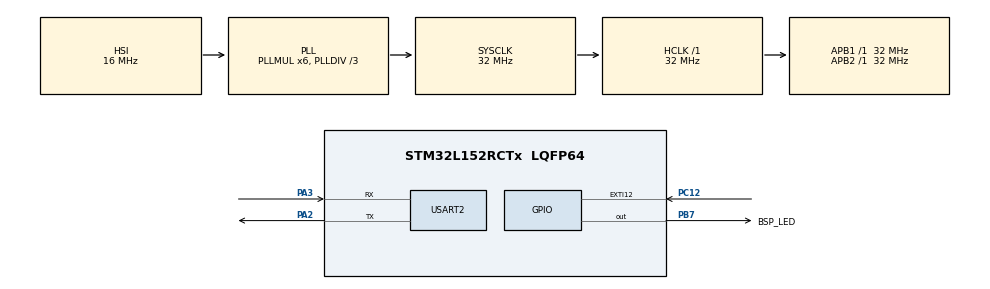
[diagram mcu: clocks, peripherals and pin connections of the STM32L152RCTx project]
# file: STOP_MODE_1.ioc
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Mcu.Family=STM32L1
Mcu.Name=STM32L152RCTx
Mcu.Package=LQFP64
NVIC.EXTI15_10_IRQn=true\:0\:0\:false\:false\:true\:true\:true\:true
NVIC.FLASH_IRQn=true\:0\:0\:false\:false\:true\:true\:true\:true
NVIC.PriorityGroup=NVIC_PRIORITYGROUP_0
NVIC.RCC_IRQn=true\:0\:0\:false\:false\:true\:true\:false\:true
NVIC.RTC_WKUP_IRQn=true\:0\:0\:false\:false\:true\:true\:true\:true
NVIC.USART2_IRQn=true\:0\:0\:false\:false\:true\:true\:true\:true
PA13.Mode=Serial_Wire
PA13.Signal=SYS_JTMS-SWDIO
PA14.Mode=Serial_Wire
PA14.Signal=SYS_JTCK-SWCLK
PA2.Mode=Asynchronous
PA2.Signal=USART2_TX
PA3.Mode=Asynchronous
PA3.Signal=USART2_RX
PB7.GPIO_Label=BSP_LED
PB7.Signal=GPIO_Output
PC12.Signal=GPXTI12
PC14-OSC32_IN.Mode=LSE-External-Oscillator
PC14-OSC32_IN.Signal=RCC_OSC32_IN
PC15-OSC32_OUT.Mode=LSE-External-Oscillator
PC15-OSC32_OUT.Signal=RCC_OSC32_OUT
PH0-OSC_IN.Mode=HSE-External-Oscillator
PH0-OSC_IN.Signal=RCC_OSC_IN
PH1-OSC_OUT.Mode=HSE-External-Oscillator
PH1-OSC_OUT.Signal=RCC_OSC_OUT
ProjectManager.HeapSize=0x200
ProjectManager.StackSize=0x400
ProjectManager.TargetToolchain=STM32CubeIDE
RCC.48MHZClocksFreq_Value=48000000
RCC.AHBFreq_Value=32000000
RCC.APB1Freq_Value=32000000
RCC.APB1TimFreq_Value=32000000
RCC.APB2Freq_Value=32000000
RCC.APB2TimFreq_Value=32000000
RCC.HCLKFreq_Value=32000000
RCC.HSE_VALUE=8000000
RCC.HSI_VALUE=16000000
RCC.MSI_VALUE=2097000
RCC.PLLDIV=RCC_PLL_DIV3
RCC.PLLMUL=RCC_PLL_MUL6
RCC.RTCClockSelectionVirtual=RCC_RTCCLKSOURCE_LSE
RCC.SYSCLKFreq_VALUE=32000000
RCC.SYSCLKSource=RCC_SYSCLKSOURCE_PLLCLK
RCC.USBOutput=48000000
RCC.VCOOutputFreq_Value=96000000
USART2.VirtualMode=VM_ASYNC
VP_RTC_VS_RTC_Activate.Mode=RTC_Enabled
VP_RTC_VS_RTC_WakeUp_intern.Mode=WakeUp
board=STM32L152C-DISCO

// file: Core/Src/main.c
/* USER CODE BEGIN Header */
/**
  ******************************************************************************
  * @file           : main.c
  * @brief          : Main program body
  ******************************************************************************
  * @attention
  *
  * Copyright (c) 2023 STMicroelectronics.
  * All rights reserved.
  *
  * This software is licensed under terms that can be found in the LICENSE file
  * in the root directory of this software component.
  * If no LICENSE file comes with this software, it is provided AS-IS.
  *
  ******************************************************************************
  */
/* USER CODE END Header */
#include "main.h"

/* USER CODE BEGIN Includes */

#include "string.h"

/* USER CODE END Includes */

RTC_HandleTypeDef hrtc;

UART_HandleTypeDef huart2;

/* USER CODE BEGIN PV */

char *str={0};

/* USER CODE END PV */

void SystemClock_Config(void);
static void MX_GPIO_Init(void);
static void MX_USART2_UART_Init(void);
static void MX_RTC_Init(void);

/* USER CODE BEGIN 0 */

void HAL_GPIO_EXTI_Callback(uint16_t GPIO_Pin){

	if(GPIO_Pin==GPIO_PIN_12){

		 SystemClock_Config();
		 HAL_ResumeTick();
		 str = " WAKUP FROM EXTERNAL IN \r\n";
		 HAL_UART_Transmit(&huart2,(uint8_t *)str,strlen(str),1000);
		 HAL_PWR_DisableSleepOnExit();

	}
}

void HAL_RTCEx_WakeUpTimerEventCallback(RTC_HandleTypeDef *hrtc){

		 SystemClock_Config();
		 HAL_ResumeTick();
		 str = "WAKUP FROM RTC \r\n";
		 HAL_UART_Transmit(&huart2,(uint8_t *)str,strlen(str),1000);

	}

/* USER CODE END 0 */

int main(void)
{

  /* MCU Configuration--------------------------------------------------------*/

  /* Reset of all peripherals, Initializes the Flash interface and the Systick. */
  HAL_Init();

  /* Configure the system clock */
  SystemClock_Config();

  /* Initialize all configured peripherals */
  MX_GPIO_Init();
  MX_USART2_UART_Init();
  MX_RTC_Init();
  /* USER CODE BEGIN 2 */

  for(int i=0;i<20;i++){
	  HAL_GPIO_TogglePin(BSP_LED_GPIO_Port,BSP_LED_Pin);
	  HAL_Delay(200);
  }

    str = " GOING INTO THE STOP MODE\r\n";
    HAL_UART_Transmit(&huart2,(uint8_t *)str,strlen(str),1000);

//    RTC WAKEUP TIMER RELATED *****//

    /*## Configure the Wake up timer ###########################################*/
     /*  RTC Wake-up Interrupt Generation:
         Wake-up Time Base = (RTC_WAKEUPCLOCK_RTCCLK_DIV /(LSI))
         ==> WakeUpCounter = Wake-up Time / Wake-up Time Base

         To configure the wake up timer to 20s the WakeUpCounter is set to 0xA017:
           RTC_WAKEUPCLOCK_RTCCLK_DIV = RTCCLK_Div16 = 16
           Wake-up Time Base = 16 /(32KHz) = 0.0005 seconds
           ==> WakeUpCounter = ~10s/0.0005s = 20000 = 0x4E20 */

    if (HAL_RTCEx_SetWakeUpTimer_IT(&hrtc, 0x4E20, RTC_WAKEUPCLOCK_RTCCLK_DIV16) != HAL_OK)
      {
        Error_Handler();
      }

// suspend the systick  before going into  stop mode

 HAL_SuspendTick();

 // Enable sleep on exit for interrupt only operation ///
 HAL_PWR_EnableSleepOnExit();

// Enter the stop mode

    HAL_PWR_EnterSTOPMode(PWR_LOWPOWERREGULATOR_ON,PWR_STOPENTRY_WFI);

//    wake up  from stop  mode

    SystemClock_Config();
    HAL_ResumeTick();

    for(int i=0;i<20;i++){
  	  HAL_GPIO_TogglePin(BSP_LED_GPIO_Port,BSP_LED_Pin);
  	  HAL_Delay(200);
    }

//    DISABLE THE RTC WAKEUP

    HAL_RTCEx_DeactivateWakeUpTimer(&hrtc);

   char *str ="WAKUP FROM STOP MODE\r\n ";
   HAL_UART_Transmit(&huart2,(uint8_t *)str,strlen(str),HAL_MAX_DELAY);

  /* USER CODE END 2 */

  /* Infinite loop */
  while (1)
  {

  }
}

void SystemClock_Config(void)
{
  RCC_OscInitTypeDef RCC_OscInitStruct = {0};
  RCC_ClkInitTypeDef RCC_ClkInitStruct = {0};
  RCC_PeriphCLKInitTypeDef PeriphClkInit = {0};

  /** Configure the main internal regulator output voltage
  */
  __HAL_PWR_VOLTAGESCALING_CONFIG(PWR_REGULATOR_VOLTAGE_SCALE1);

  /** Initializes the RCC Oscillators according to the specified parameters
  * in the RCC_OscInitTypeDef structure.
  */
  RCC_OscInitStruct.OscillatorType = RCC_OSCILLATORTYPE_HSI|RCC_OSCILLATORTYPE_LSE;
  RCC_OscInitStruct.LSEState = RCC_LSE_ON;
  RCC_OscInitStruct.HSIState = RCC_HSI_ON;
  RCC_OscInitStruct.HSICalibrationValue = RCC_HSICALIBRATION_DEFAULT;
  RCC_OscInitStruct.PLL.PLLState = RCC_PLL_ON;
  RCC_OscInitStruct.PLL.PLLSource = RCC_PLLSOURCE_HSI;
  RCC_OscInitStruct.PLL.PLLMUL = RCC_PLL_MUL6;
  RCC_OscInitStruct.PLL.PLLDIV = RCC_PLL_DIV3;
  if (HAL_RCC_OscConfig(&RCC_OscInitStruct) != HAL_OK)
  {
    Error_Handler();
  }

  /** Initializes the CPU, AHB and APB buses clocks
  */
  RCC_ClkInitStruct.ClockType = RCC_CLOCKTYPE_HCLK|RCC_CLOCKTYPE_SYSCLK
                              |RCC_CLOCKTYPE_PCLK1|RCC_CLOCKTYPE_PCLK2;
  RCC_ClkInitStruct.SYSCLKSource = RCC_SYSCLKSOURCE_PLLCLK;
  RCC_ClkInitStruct.AHBCLKDivider = RCC_SYSCLK_DIV1;
  RCC_ClkInitStruct.APB1CLKDivider = RCC_HCLK_DIV1;
  RCC_ClkInitStruct.APB2CLKDivider = RCC_HCLK_DIV1;

  if (HAL_RCC_ClockConfig(&RCC_ClkInitStruct, FLASH_LATENCY_1) != HAL_OK)
  {
    Error_Handler();
  }
  PeriphClkInit.PeriphClockSelection = RCC_PERIPHCLK_RTC;
  PeriphClkInit.RTCClockSelection = RCC_RTCCLKSOURCE_LSE;
  if (HAL_RCCEx_PeriphCLKConfig(&PeriphClkInit) != HAL_OK)
  {
    Error_Handler();
  }
}

static void MX_RTC_Init(void)
{

  RTC_TimeTypeDef sTime = {0};
  RTC_DateTypeDef sDate = {0};

  /** Initialize RTC Only
  */
  hrtc.Instance = RTC;
  hrtc.Init.HourFormat = RTC_HOURFORMAT_24;
  hrtc.Init.AsynchPrediv = 127;
  hrtc.Init.SynchPrediv = 255;
  hrtc.Init.OutPut = RTC_OUTPUT_DISABLE;
  hrtc.Init.OutPutPolarity = RTC_OUTPUT_POLARITY_HIGH;
  hrtc.Init.OutPutType = RTC_OUTPUT_TYPE_OPENDRAIN;
  if (HAL_RTC_Init(&hrtc) != HAL_OK)
  {
    Error_Handler();
  }

  /** Initialize RTC and set the Time and Date
  */
  sTime.Hours = 0x0;
  sTime.Minutes = 0x0;
  sTime.Seconds = 0x0;
  sTime.DayLightSaving = RTC_DAYLIGHTSAVING_NONE;
  sTime.StoreOperation = RTC_STOREOPERATION_RESET;
  if (HAL_RTC_SetTime(&hrtc, &sTime, RTC_FORMAT_BCD) != HAL_OK)
  {
    Error_Handler();
  }
  sDate.WeekDay = RTC_WEEKDAY_MONDAY;
  sDate.Month = RTC_MONTH_JANUARY;
  sDate.Date = 0x1;
  sDate.Year = 0x0;

  if (HAL_RTC_SetDate(&hrtc, &sDate, RTC_FORMAT_BCD) != HAL_OK)
  {
    Error_Handler();
  }

  /** Enable the WakeUp
  */
//  if (HAL_RTCEx_SetWakeUpTimer_IT(&hrtc, 0, RTC_WAKEUPCLOCK_RTCCLK_DIV16) != HAL_OK)
//  {
//    Error_Handler();
//  }

}

static void MX_USART2_UART_Init(void)
{

  huart2.Instance = USART2;
  huart2.Init.BaudRate = 115200;
  huart2.Init.WordLength = UART_WORDLENGTH_8B;
  huart2.Init.StopBits = UART_STOPBITS_1;
  huart2.Init.Parity = UART_PARITY_NONE;
  huart2.Init.Mode = UART_MODE_TX_RX;
  huart2.Init.HwFlowCtl = UART_HWCONTROL_NONE;
  huart2.Init.OverSampling = UART_OVERSAMPLING_16;
  if (HAL_UART_Init(&huart2) != HAL_OK)
  {
    Error_Handler();
  }

}

static void MX_GPIO_Init(void)
{
  GPIO_InitTypeDef GPIO_InitStruct = {0};

  /* GPIO Ports Clock Enable */
  __HAL_RCC_GPIOC_CLK_ENABLE();
  __HAL_RCC_GPIOH_CLK_ENABLE();
  __HAL_RCC_GPIOA_CLK_ENABLE();
  __HAL_RCC_GPIOB_CLK_ENABLE();

  /*Configure GPIO pin Output Level */
  HAL_GPIO_WritePin(BSP_LED_GPIO_Port, BSP_LED_Pin, GPIO_PIN_RESET);

  /*Configure GPIO pin : PC12 */
  GPIO_InitStruct.Pin = GPIO_PIN_12;
  GPIO_InitStruct.Mode = GPIO_MODE_IT_RISING;
  GPIO_InitStruct.Pull = GPIO_NOPULL;
  HAL_GPIO_Init(GPIOC, &GPIO_InitStruct);

  /*Configure GPIO pin : BSP_LED_Pin */
  GPIO_InitStruct.Pin = BSP_LED_Pin;
  GPIO_InitStruct.Mode = GPIO_MODE_OUTPUT_PP;
  GPIO_InitStruct.Pull = GPIO_NOPULL;
  GPIO_InitStruct.Speed = GPIO_SPEED_FREQ_LOW;
  HAL_GPIO_Init(BSP_LED_GPIO_Port, &GPIO_InitStruct);

  /* EXTI interrupt init*/
  HAL_NVIC_SetPriority(EXTI15_10_IRQn, 0, 0);
  HAL_NVIC_EnableIRQ(EXTI15_10_IRQn);

}

void Error_Handler(void)
{
  __disable_irq();
  while (1)
  {
  }
}
